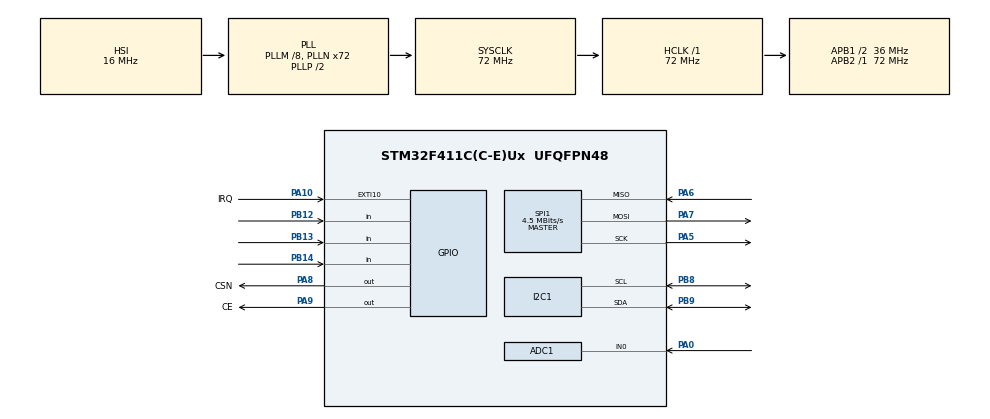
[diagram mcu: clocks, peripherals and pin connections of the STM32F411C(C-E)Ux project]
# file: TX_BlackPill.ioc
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ADC1.Channel-0\#ChannelRegularConversion=ADC_CHANNEL_0
ADC1.ContinuousConvMode=ENABLE
ADC1.NbrOfConversionFlag=1
ADC1.Rank-0\#ChannelRegularConversion=1
ADC1.SamplingTime-0\#ChannelRegularConversion=ADC_SAMPLETIME_3CYCLES
ADC1.master=1
Mcu.Family=STM32F4
Mcu.Name=STM32F411C(C-E)Ux
Mcu.Package=UFQFPN48
NVIC.PriorityGroup=NVIC_PRIORITYGROUP_4
NVIC.SPI1_IRQn=true\:0\:0\:false\:false\:true\:true\:true\:true
PA0-WKUP.Signal=ADCx_IN0
PA10.GPIO_Label=IRQ
PA10.GPIO_ModeDefaultEXTI=GPIO_MODE_IT_FALLING
PA10.Signal=GPXTI10
PA5.Mode=Full_Duplex_Master
PA5.Signal=SPI1_SCK
PA6.Mode=Full_Duplex_Master
PA6.Signal=SPI1_MISO
PA7.Mode=Full_Duplex_Master
PA7.Signal=SPI1_MOSI
PA8.GPIO_Label=CSN
PA8.GPIO_Speed=GPIO_SPEED_FREQ_VERY_HIGH
PA8.Signal=GPIO_Output
PA9.GPIO_Label=CE
PA9.GPIO_Speed=GPIO_SPEED_FREQ_VERY_HIGH
PA9.Signal=GPIO_Output
PB12.GPIO_PuPd=GPIO_PULLDOWN
PB12.Signal=GPIO_Input
PB13.GPIO_PuPd=GPIO_PULLDOWN
PB13.Signal=GPIO_Input
PB14.GPIO_PuPd=GPIO_PULLDOWN
PB14.Signal=GPIO_Input
PB8.Mode=I2C
PB8.Signal=I2C1_SCL
PB9.Mode=I2C
PB9.Signal=I2C1_SDA
ProjectManager.HeapSize=0x200
ProjectManager.StackSize=0x400
ProjectManager.TargetToolchain=STM32CubeIDE
RCC.48MHZClocksFreq_Value=36000000
RCC.AHBFreq_Value=72000000
RCC.APB1CLKDivider=RCC_HCLK_DIV2
RCC.APB1Freq_Value=36000000
RCC.APB1TimFreq_Value=72000000
RCC.APB2Freq_Value=72000000
RCC.APB2TimFreq_Value=72000000
RCC.CortexFreq_Value=72000000
RCC.HCLKFreq_Value=72000000
RCC.HSE_VALUE=25000000
RCC.HSI_VALUE=16000000
RCC.LSE_VALUE=32768
RCC.PLLM=8
RCC.PLLN=72
RCC.SYSCLKFreq_VALUE=72000000
RCC.SYSCLKSource=RCC_SYSCLKSOURCE_PLLCLK
RCC.VCOOutputFreq_Value=144000000
SH.ADCx_IN0.0=ADC1_IN0,IN0
SPI1.BaudRatePrescaler=SPI_BAUDRATEPRESCALER_16
SPI1.CalculateBaudRate=4.5 MBits/s
SPI1.Direction=SPI_DIRECTION_2LINES
SPI1.Mode=SPI_MODE_MASTER
SPI1.VirtualType=VM_MASTER
board=custom

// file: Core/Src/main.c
/* USER CODE BEGIN Header */
/*
------- Kevin Lara  -------
--------- Auf Das --------
-------- Roberto --------
----------- Car  -----------
-------- 27/12/2025 --------
*/
/*
A5  SPI1_SCK
A6  SPI1_MISo
A7  SPI1_MOSI
A8  CSN
A9  CE
A10 IRQ

B7  SW Back
B6  SW Fw
*/
// ------- Main Library -------

/* USER CODE END Header */
#include "main.h"

/* USER CODE BEGIN Includes */
typedef struct {
    uint8_t cmd;
    uint8_t speed;
    float angle;
} RF_Data;

#include "NRF24.h"
#include "NRF24_reg_addresses.h"
#include "mpu6050.h"

#include <stdio.h>
#include <math.h>

/* USER CODE END Includes */

/* USER CODE BEGIN PD */
#define PLD_SIZE sizeof(RF_Data)
/* USER CODE END PD */

ADC_HandleTypeDef hadc1;

I2C_HandleTypeDef hi2c1;

SPI_HandleTypeDef hspi1;

/* USER CODE BEGIN PV */
RF_Data txData;
uint8_t dataTx[sizeof(RF_Data)];
uint8_t addrTx[4]="juan";
uint16_t var = 0x00;
uint8_t speed = 50;

float ax, ay, az, gx, gy, gz, t;
char buf_lcd[12];

float roll_rad = 0.0f, roll_deg = 0.0f;
float deg_offset =0.0f, pwm_val=0.0f, operation =0.0f;

#define PI 3.14159265

/* USER CODE END PV */

void SystemClock_Config(void);
static void MX_GPIO_Init(void);
static void MX_SPI1_Init(void);
static void MX_I2C1_Init(void);
static void MX_ADC1_Init(void);

int main(void)
{

  /* USER CODE BEGIN 1 */
    RF_Data dataTx;

  /* USER CODE END 1 */

  /* MCU Configuration--------------------------------------------------------*/

  /* Reset of all peripherals, Initializes the Flash interface and the Systick. */
  HAL_Init();

  /* Configure the system clock */
  SystemClock_Config();

  /* Initialize all configured peripherals */
  MX_GPIO_Init();
  MX_SPI1_Init();
  MX_I2C1_Init();
  MX_ADC1_Init();
  /* USER CODE BEGIN 2 */
  MPU6050_Init();
  csn_high();
  nrf24_init();
  nrf24_tx_pwr(_0dbm );
  nrf24_data_rate(_1mbps);
  nrf24_set_crc(en_crc,_1byte);
  nrf24_set_channel(100);
  nrf24_pipe_pld_size(0,PLD_SIZE);
  nrf24_open_tx_pipe(addrTx);
  nrf24_open_rx_pipe(0,addrTx);
  nrf24_stop_listen();
  float deg_gx, deg_gy, deg_gz;

  uint8_t cmd =0;
  /* USER CODE END 2 */

  /* Infinite loop */
  while (1)
  {

    /* USER CODE BEGIN 3 */
	  HAL_ADC_Start(&hadc1);

	  if(MPU6050_Read_Data() > 0)
		{
			ax = MPU6050_Get_Ax();
//			ay = MPU6050_Get_Ay();
			az = MPU6050_Get_Az();
//			gx = MPU6050_Get_Gx();gy = MPU6050_Get_Gy();gz = MPU6050_Get_Gz();t = MPU6050_Get_Temperature();

      float denominator = sqrt(ax * ax + az * az);
      roll_rad = atan2(ay, denominator); // arctan(ay/ \sqrt[ax^2+az^2] )
      roll_deg = roll_rad * (180.0f / PI);
      deg_offset = roll_deg+90; // avoid handling negative values on pwm
      pwm_val = 340-(deg_offset*(2.0/3.0)); // 340 - deg*120/180

			HAL_Delay(200);
		}

    if(GPIOB->IDR & (1<<12)) // Si el boton BACK esta presionado
    	cmd = 0x01;
    if(GPIOB->IDR & (1<<13)) // Si el boton FW esta presionado
    	cmd = 0x02;
    if(GPIOB->IDR & (1<<14)) // Si el boton FW esta presionado
    	cmd = 0x03;

	  var = HAL_ADC_GetValue(&hadc1);
    speed = (var * 101)>>12; // /4095 >>12
    dataTx.cmd = cmd;
    dataTx.angle = pwm_val;
    dataTx.speed = speed;
    nrf24_transmit((uint8_t*)&dataTx, sizeof(dataTx));

    HAL_Delay(15);
  }

  /* USER CODE END 3 */
}

void SystemClock_Config(void)
{
  RCC_OscInitTypeDef RCC_OscInitStruct = {0};
  RCC_ClkInitTypeDef RCC_ClkInitStruct = {0};

  /** Configure the main internal regulator output voltage
  */
  __HAL_RCC_PWR_CLK_ENABLE();
  __HAL_PWR_VOLTAGESCALING_CONFIG(PWR_REGULATOR_VOLTAGE_SCALE1);

  /** Initializes the RCC Oscillators according to the specified parameters
  * in the RCC_OscInitTypeDef structure.
  */
  RCC_OscInitStruct.OscillatorType = RCC_OSCILLATORTYPE_HSI;
  RCC_OscInitStruct.HSIState = RCC_HSI_ON;
  RCC_OscInitStruct.HSICalibrationValue = RCC_HSICALIBRATION_DEFAULT;
  RCC_OscInitStruct.PLL.PLLState = RCC_PLL_ON;
  RCC_OscInitStruct.PLL.PLLSource = RCC_PLLSOURCE_HSI;
  RCC_OscInitStruct.PLL.PLLM = 8;
  RCC_OscInitStruct.PLL.PLLN = 72;
  RCC_OscInitStruct.PLL.PLLP = RCC_PLLP_DIV2;
  RCC_OscInitStruct.PLL.PLLQ = 4;
  if (HAL_RCC_OscConfig(&RCC_OscInitStruct) != HAL_OK)
  {
    Error_Handler();
  }

  /** Initializes the CPU, AHB and APB buses clocks
  */
  RCC_ClkInitStruct.ClockType = RCC_CLOCKTYPE_HCLK|RCC_CLOCKTYPE_SYSCLK
                              |RCC_CLOCKTYPE_PCLK1|RCC_CLOCKTYPE_PCLK2;
  RCC_ClkInitStruct.SYSCLKSource = RCC_SYSCLKSOURCE_PLLCLK;
  RCC_ClkInitStruct.AHBCLKDivider = RCC_SYSCLK_DIV1;
  RCC_ClkInitStruct.APB1CLKDivider = RCC_HCLK_DIV2;
  RCC_ClkInitStruct.APB2CLKDivider = RCC_HCLK_DIV1;

  if (HAL_RCC_ClockConfig(&RCC_ClkInitStruct, FLASH_LATENCY_2) != HAL_OK)
  {
    Error_Handler();
  }
}

static void MX_ADC1_Init(void)
{

  ADC_ChannelConfTypeDef sConfig = {0};

  /** Configure the global features of the ADC (Clock, Resolution, Data Alignment and number of conversion)
  */
  hadc1.Instance = ADC1;
  hadc1.Init.ClockPrescaler = ADC_CLOCK_SYNC_PCLK_DIV2;
  hadc1.Init.Resolution = ADC_RESOLUTION_12B;
  hadc1.Init.ScanConvMode = DISABLE;
  hadc1.Init.ContinuousConvMode = ENABLE;
  hadc1.Init.DiscontinuousConvMode = DISABLE;
  hadc1.Init.ExternalTrigConvEdge = ADC_EXTERNALTRIGCONVEDGE_NONE;
  hadc1.Init.ExternalTrigConv = ADC_SOFTWARE_START;
  hadc1.Init.DataAlign = ADC_DATAALIGN_RIGHT;
  hadc1.Init.NbrOfConversion = 1;
  hadc1.Init.DMAContinuousRequests = DISABLE;
  hadc1.Init.EOCSelection = ADC_EOC_SINGLE_CONV;
  if (HAL_ADC_Init(&hadc1) != HAL_OK)
  {
    Error_Handler();
  }

  /** Configure for the selected ADC regular channel its corresponding rank in the sequencer and its sample time.
  */
  sConfig.Channel = ADC_CHANNEL_0;
  sConfig.Rank = 1;
  sConfig.SamplingTime = ADC_SAMPLETIME_3CYCLES;
  if (HAL_ADC_ConfigChannel(&hadc1, &sConfig) != HAL_OK)
  {
    Error_Handler();
  }

}

static void MX_I2C1_Init(void)
{

  hi2c1.Instance = I2C1;
  hi2c1.Init.ClockSpeed = 100000;
  hi2c1.Init.DutyCycle = I2C_DUTYCYCLE_2;
  hi2c1.Init.OwnAddress1 = 0;
  hi2c1.Init.AddressingMode = I2C_ADDRESSINGMODE_7BIT;
  hi2c1.Init.DualAddressMode = I2C_DUALADDRESS_DISABLE;
  hi2c1.Init.OwnAddress2 = 0;
  hi2c1.Init.GeneralCallMode = I2C_GENERALCALL_DISABLE;
  hi2c1.Init.NoStretchMode = I2C_NOSTRETCH_DISABLE;
  if (HAL_I2C_Init(&hi2c1) != HAL_OK)
  {
    Error_Handler();
  }

}

static void MX_SPI1_Init(void)
{

  /* SPI1 parameter configuration*/
  hspi1.Instance = SPI1;
  hspi1.Init.Mode = SPI_MODE_MASTER;
  hspi1.Init.Direction = SPI_DIRECTION_2LINES;
  hspi1.Init.DataSize = SPI_DATASIZE_8BIT;
  hspi1.Init.CLKPolarity = SPI_POLARITY_LOW;
  hspi1.Init.CLKPhase = SPI_PHASE_1EDGE;
  hspi1.Init.NSS = SPI_NSS_SOFT;
  hspi1.Init.BaudRatePrescaler = SPI_BAUDRATEPRESCALER_16;
  hspi1.Init.FirstBit = SPI_FIRSTBIT_MSB;
  hspi1.Init.TIMode = SPI_TIMODE_DISABLE;
  hspi1.Init.CRCCalculation = SPI_CRCCALCULATION_DISABLE;
  hspi1.Init.CRCPolynomial = 10;
  if (HAL_SPI_Init(&hspi1) != HAL_OK)
  {
    Error_Handler();
  }

}

static void MX_GPIO_Init(void)
{
  GPIO_InitTypeDef GPIO_InitStruct = {0};

  /* GPIO Ports Clock Enable */
  __HAL_RCC_GPIOA_CLK_ENABLE();
  __HAL_RCC_GPIOB_CLK_ENABLE();

  /*Configure GPIO pin Output Level */
  HAL_GPIO_WritePin(GPIOA, CSN_Pin|CE_Pin, GPIO_PIN_RESET);

  /*Configure GPIO pins : PB12 PB13 PB14 */
  GPIO_InitStruct.Pin = GPIO_PIN_12|GPIO_PIN_13|GPIO_PIN_14;
  GPIO_InitStruct.Mode = GPIO_MODE_INPUT;
  GPIO_InitStruct.Pull = GPIO_PULLDOWN;
  HAL_GPIO_Init(GPIOB, &GPIO_InitStruct);

  /*Configure GPIO pins : CSN_Pin CE_Pin */
  GPIO_InitStruct.Pin = CSN_Pin|CE_Pin;
  GPIO_InitStruct.Mode = GPIO_MODE_OUTPUT_PP;
  GPIO_InitStruct.Pull = GPIO_NOPULL;
  GPIO_InitStruct.Speed = GPIO_SPEED_FREQ_VERY_HIGH;
  HAL_GPIO_Init(GPIOA, &GPIO_InitStruct);

  /*Configure GPIO pin : IRQ_Pin */
  GPIO_InitStruct.Pin = IRQ_Pin;
  GPIO_InitStruct.Mode = GPIO_MODE_IT_FALLING;
  GPIO_InitStruct.Pull = GPIO_NOPULL;
  HAL_GPIO_Init(IRQ_GPIO_Port, &GPIO_InitStruct);

}

void Error_Handler(void)
{
  __disable_irq();
  while (1)
  {
  }
}
